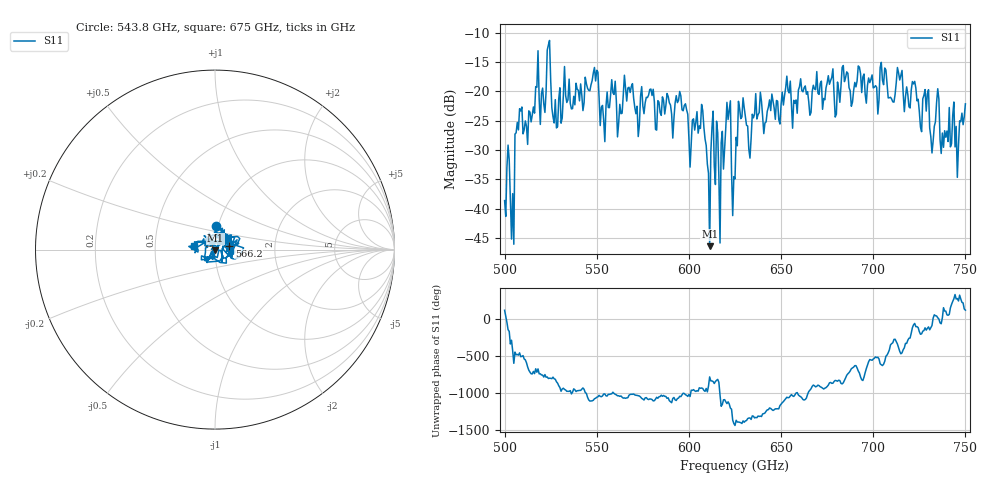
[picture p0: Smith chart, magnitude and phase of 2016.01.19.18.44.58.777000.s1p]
!Created with skrf (http://scikit-rf.org).
# GHz S RI R 50.0
!freq ReS11 ImS11
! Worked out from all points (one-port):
!   401 points, 500 GHz to 750 GHz, reference 50 ohm
!   lowest |S11| = -46.4 dB at 611.2 GHz (marker M1), VSWR 1.01, Z = 50.2 - j0.418 ohm
!   |S11| at or under -10 dB: start of sweep to end of sweep
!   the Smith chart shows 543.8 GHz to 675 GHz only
!   S11 on the Smith chart (normalised r, x): 543.8 GHz: 0.97, +0.26; 566.2 GHz: 1.17, +0.05; 675 GHz: 0.79, +0.03
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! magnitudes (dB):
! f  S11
! 500 GHz  -38.6
! 504.4 GHz  -37.4
! 508.1 GHz  -23.0
! 520.6 GHz  -19.5
! 523.8 GHz  -12.1
! 527.5 GHz  -21.4
! 531.2 GHz  -24.5
! 543.8 GHz  -17.6
! 549.4 GHz  -18.2
! 553.1 GHz  -22.4
! 562.5 GHz  -22.2
! 566.2 GHz  -21.7
! 571.9 GHz  -22.5
! 593.8 GHz  -21.9
! 607.5 GHz  -23.3
! 611.2 GHz  -46.4
! 613.8 GHz  -32.7
! 617.5 GHz  -28.8
! 621.2 GHz  -24.8
! 625 GHz  -34.9
! 628.1 GHz  -24.7
! 632.5 GHz  -29.9
! 656.2 GHz  -26.3
! 675 GHz  -18.6
! 687.5 GHz  -19.9
! 718.8 GHz  -20.5
! 737.5 GHz  -27.1
! 750 GHz  -22.1
